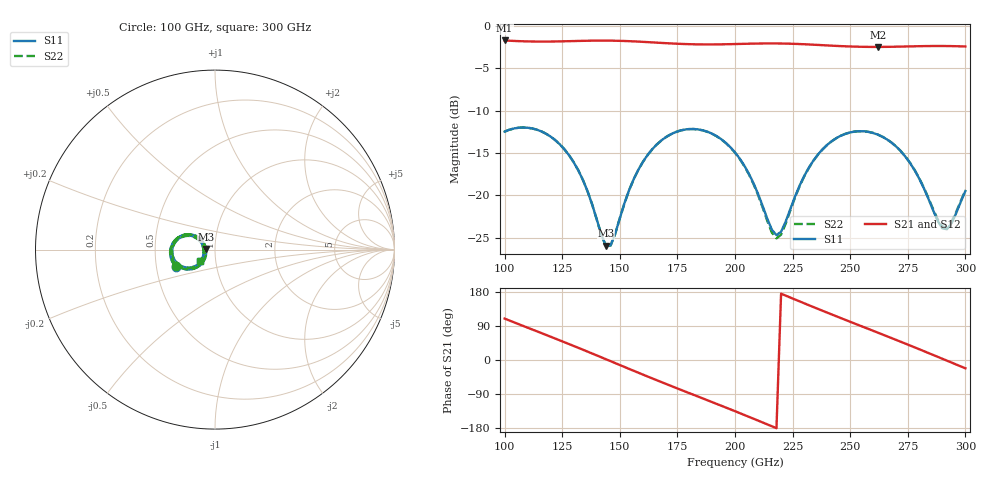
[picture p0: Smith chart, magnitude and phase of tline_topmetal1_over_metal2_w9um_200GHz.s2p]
#  GHZ S DB R 50
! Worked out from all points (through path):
!   101 points, 100 GHz to 300 GHz, reference 50 ohm
!   highest |S21| = -1.75 dB at 100 GHz (marker M1); lowest = -2.5 dB at 262 GHz (marker M2)
!   group delay of S21, straight-line fit = 6.82 ps
!   lowest |S11| = -25.9 dB at 144 GHz (marker M3), VSWR 1.11, Z = 45.2 + j0.336 ohm
!   |S11| at or under -10 dB: start of sweep to end of sweep
!   |S22| runs from -26.0 to -12.0 dB; largest |S21 - S12| = 9.4e-14
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100  -12.48 -156.6  -1.75 109.2  -1.75 109.2  -12.48 -156.8
108  -12.00 -172.7  -1.84 90.1  -1.84 90.1  -12.00 -172.9
116  -12.46 171.4  -1.88 71.0  -1.88 71.0  -12.46 171.3
126  -14.58 153.3  -1.84 46.9  -1.84 46.9  -14.58 153.1
134  -18.18 143.7  -1.79 27.1  -1.79 27.1  -18.19 143.5
144  -25.94 175.8  -1.76 2.0  -1.76 2.0  -25.98 175.6
146  -25.88 -164.3  -1.77 -3.1  -1.77 -3.1  -25.92 -164.4
156  -18.11 -133.8  -1.85 -28.4  -1.85 -28.4  -18.12 -133.8
168  -13.53 -150.2  -2.03 -58.1  -2.03 -58.1  -13.54 -150.4
184  -12.22 -180.0  -2.21 -96.6  -2.21 -96.6  -12.23 179.8
200  -14.93 152.6  -2.17 -135.1  -2.17 -135.1  -14.97 152.1
210  -19.82 146.7  -2.11 -159.8  -2.11 -159.8  -19.94 145.7
218  -24.68 -178.4  -2.10 -180.0  -2.10 -180.0  -25.06 -178.2
226  -20.17 -140.3  -2.15 159.8  -2.15 159.8  -20.28 -138.8
234  -15.91 -142.5  -2.24 139.8  -2.24 139.8  -15.94 -141.5
248  -12.74 -164.4  -2.43 105.7  -2.43 105.7  -12.74 -163.7
262  -12.84 170.7  -2.51 72.2  -2.51 72.2  -12.83 171.3
268  -13.80 160.8  -2.49 57.7  -2.49 57.7  -13.78 161.4
280  -18.04 148.0  -2.42 28.3  -2.42 28.3  -17.99 148.8
290  -23.88 175.0  -2.40 3.3  -2.40 3.3  -23.68 175.4
294  -23.28 -158.6  -2.41 -6.8  -2.41 -6.8  -23.10 -159.1
300  -19.48 -141.7  -2.46 -21.9  -2.46 -21.9  -19.41 -142.2
